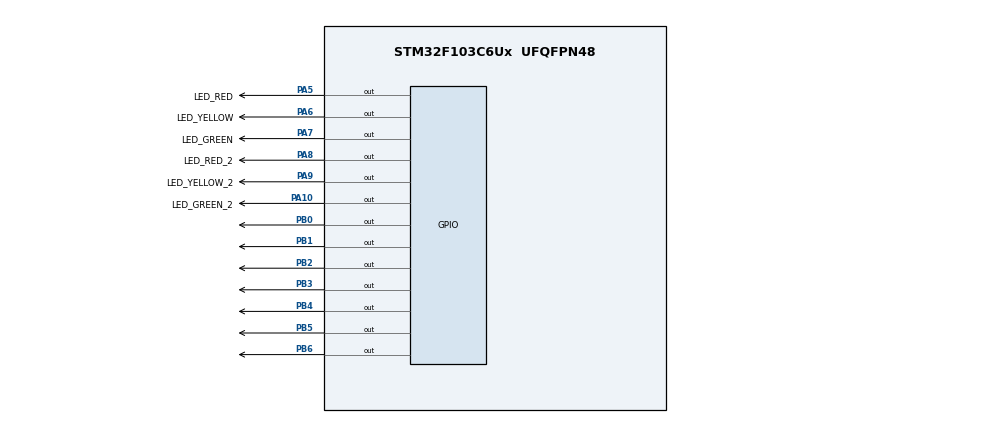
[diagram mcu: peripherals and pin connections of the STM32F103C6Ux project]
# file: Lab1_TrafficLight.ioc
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Mcu.Family=STM32F1
Mcu.Name=STM32F103C6Ux
Mcu.Package=UFQFPN48
NVIC.PriorityGroup=NVIC_PRIORITYGROUP_4
PA10.GPIO_Label=LED_GREEN_2
PA10.Signal=GPIO_Output
PA5.GPIO_Label=LED_RED
PA5.Signal=GPIO_Output
PA6.GPIO_Label=LED_YELLOW
PA6.Signal=GPIO_Output
PA7.GPIO_Label=LED_GREEN
PA7.Signal=GPIO_Output
PA8.GPIO_Label=LED_RED_2
PA8.Signal=GPIO_Output
PA9.GPIO_Label=LED_YELLOW_2
PA9.Signal=GPIO_Output
PB0.Signal=GPIO_Output
PB1.Signal=GPIO_Output
PB2.Signal=GPIO_Output
PB3.Signal=GPIO_Output
PB4.Signal=GPIO_Output
PB5.Signal=GPIO_Output
PB6.Signal=GPIO_Output
ProjectManager.HeapSize=0x200
ProjectManager.StackSize=0x400
ProjectManager.TargetToolchain=STM32CubeIDE
RCC.APB1Freq_Value=8000000
RCC.APB2Freq_Value=8000000
VP_SYS_VS_ND.Mode=No_Debug
board=custom

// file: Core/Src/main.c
/* USER CODE BEGIN Header */
/**
  ******************************************************************************
  * @file           : main.c
  * @brief          : Main program body
  ******************************************************************************
  * @attention
  *
  * <h2><center>&copy; Copyright (c) 2026 STMicroelectronics.
  * All rights reserved.</center></h2>
  *
  * This software component is licensed by ST under BSD 3-Clause license,
  * the "License"; You may not use this file except in compliance with the
  * License. You may obtain a copy of the License at:
  *                        opensource.org/licenses/BSD-3-Clause
  *
  ******************************************************************************
  */
/* USER CODE END Header */
#include "main.h"

void SystemClock_Config(void);
static void MX_GPIO_Init(void);

/* USER CODE BEGIN 0 */
void display7SEG(int num) {
    // Tắt toàn bộ các nét (Anode chung nên SET = Tắt)
    HAL_GPIO_WritePin(GPIOB, GPIO_PIN_0|GPIO_PIN_1|GPIO_PIN_2|GPIO_PIN_3|GPIO_PIN_4|GPIO_PIN_5|GPIO_PIN_6, GPIO_PIN_SET);

    switch (num) {
        case 0:
            // Sáng a, b, c, d, e, f (Tắt g - PB6)
            HAL_GPIO_WritePin(GPIOB, GPIO_PIN_0|GPIO_PIN_1|GPIO_PIN_2|GPIO_PIN_3|GPIO_PIN_4|GPIO_PIN_5, GPIO_PIN_RESET);
            break;
        case 1:
            // Sáng b, c (PB1, PB2)
            HAL_GPIO_WritePin(GPIOB, GPIO_PIN_1|GPIO_PIN_2, GPIO_PIN_RESET);
            break;
        case 2:
            // Sáng a, b, d, e, g (PB0, PB1, PB3, PB4, PB6)
            HAL_GPIO_WritePin(GPIOB, GPIO_PIN_0|GPIO_PIN_1|GPIO_PIN_3|GPIO_PIN_4|GPIO_PIN_6, GPIO_PIN_RESET);
            break;
        case 3:
            // Sáng a, b, c, d, g (PB0, PB1, PB2, PB3, PB6)
            HAL_GPIO_WritePin(GPIOB, GPIO_PIN_0|GPIO_PIN_1|GPIO_PIN_2|GPIO_PIN_3|GPIO_PIN_6, GPIO_PIN_RESET);
            break;
        case 4:
            // Sáng b, c, f, g (PB1, PB2, PB5, PB6)
            HAL_GPIO_WritePin(GPIOB, GPIO_PIN_1|GPIO_PIN_2|GPIO_PIN_5|GPIO_PIN_6, GPIO_PIN_RESET);
            break;
        case 5:
            // Sáng a, c, d, f, g (PB0, PB2, PB3, PB5, PB6)
            HAL_GPIO_WritePin(GPIOB, GPIO_PIN_0|GPIO_PIN_2|GPIO_PIN_3|GPIO_PIN_5|GPIO_PIN_6, GPIO_PIN_RESET);
            break;
        case 6:
            // Sáng a, c, d, e, f, g (PB0, PB2, PB3, PB4, PB5, PB6)
            HAL_GPIO_WritePin(GPIOB, GPIO_PIN_0|GPIO_PIN_2|GPIO_PIN_3|GPIO_PIN_4|GPIO_PIN_5|GPIO_PIN_6, GPIO_PIN_RESET);
            break;
        case 7:
            // Sáng a, b, c (PB0, PB1, PB2)
            HAL_GPIO_WritePin(GPIOB, GPIO_PIN_0|GPIO_PIN_1|GPIO_PIN_2, GPIO_PIN_RESET);
            break;
        case 8:
            // Sáng tất cả các nét từ a đến g
            HAL_GPIO_WritePin(GPIOB, GPIO_PIN_0|GPIO_PIN_1|GPIO_PIN_2|GPIO_PIN_3|GPIO_PIN_4|GPIO_PIN_5|GPIO_PIN_6, GPIO_PIN_RESET);
            break;
        case 9:
            // Sáng a, b, c, d, f, g (PB0, PB1, PB2, PB3, PB5, PB6)
            HAL_GPIO_WritePin(GPIOB, GPIO_PIN_0|GPIO_PIN_1|GPIO_PIN_2|GPIO_PIN_3|GPIO_PIN_5|GPIO_PIN_6, GPIO_PIN_RESET);
            break;
        default:
            break;
    }
}
/* USER CODE END 0 */

int main(void)
{

  /* MCU Configuration--------------------------------------------------------*/

  /* Reset of all peripherals, Initializes the Flash interface and the Systick. */
  HAL_Init();

  /* Configure the system clock */
  SystemClock_Config();

  /* Initialize all configured peripherals */
  MX_GPIO_Init();

  /* Infinite loop */
  /* USER CODE BEGIN WHILE */
  // int counter = 0;
  while (1)
  {
    /* USER CODE END WHILE */
	  // --- EXERCISE 1 ---
	  //	      HAL_GPIO_WritePin(LED_RED_GPIO_Port, LED_RED_Pin, GPIO_PIN_SET);
	  //	      HAL_GPIO_WritePin(LED_YELLOW_GPIO_Port, LED_YELLOW_Pin, GPIO_PIN_RESET);
	  //	      HAL_Delay(2000);
	  //
	  //	      HAL_GPIO_WritePin(LED_RED_GPIO_Port, LED_RED_Pin, GPIO_PIN_RESET);
	  //	      HAL_GPIO_WritePin(LED_YELLOW_GPIO_Port, LED_YELLOW_Pin, GPIO_PIN_SET);
	  //	      HAL_Delay(2000);

	  // --- EXERCISE 2 ---
	  //	  // 1. TRẠNG THÁI ĐÈN ĐỎ SÁNG (5 giây)
	  //	  HAL_GPIO_WritePin(LED_RED_GPIO_Port, LED_RED_Pin, GPIO_PIN_RESET);       // Bật Đỏ
	  //	  HAL_GPIO_WritePin(LED_YELLOW_GPIO_Port, LED_YELLOW_Pin, GPIO_PIN_SET);   // Tắt Vàng
	  //	  HAL_GPIO_WritePin(LED_GREEN_GPIO_Port, LED_GREEN_Pin, GPIO_PIN_SET);     // Tắt Xanh
	  //	  HAL_Delay(5000);
	  //
	  //	  // 2. TRẠNG THÁI ĐÈN XANH SÁNG (3 giây)
	  //	  HAL_GPIO_WritePin(LED_RED_GPIO_Port, LED_RED_Pin, GPIO_PIN_SET);         // Tắt Đỏ
	  //	  HAL_GPIO_WritePin(LED_YELLOW_GPIO_Port, LED_YELLOW_Pin, GPIO_PIN_SET);   // Tắt Vàng
	  //	  HAL_GPIO_WritePin(LED_GREEN_GPIO_Port, LED_GREEN_Pin, GPIO_PIN_RESET);   // Bật Xanh
	  //	  HAL_Delay(3000);
	  //
	  //	  // 3. TRẠNG THÁI ĐÈN VÀNG SÁNG (2 giây)
	  //	  HAL_GPIO_WritePin(LED_RED_GPIO_Port, LED_RED_Pin, GPIO_PIN_SET);         // Tắt Đỏ
	  //	  HAL_GPIO_WritePin(LED_YELLOW_GPIO_Port, LED_YELLOW_Pin, GPIO_PIN_RESET); // Bật Vàng
	  //	  HAL_GPIO_WritePin(LED_GREEN_GPIO_Port, LED_GREEN_Pin, GPIO_PIN_SET);     // Tắt Xanh
	  //	  HAL_Delay(2000);

	  // --- EXERCISE 3 ---
//	  	  // TRẠNG THÁI 1 (3 giây): Dọc XANH - Ngang ĐỎ
//	  	  HAL_GPIO_WritePin(GPIOA, GPIO_PIN_5, GPIO_PIN_SET);    // Tắt Đỏ 1
//	  	  HAL_GPIO_WritePin(GPIOA, GPIO_PIN_6, GPIO_PIN_SET);    // Tắt Vàng 1
//	  	  HAL_GPIO_WritePin(GPIOA, GPIO_PIN_7, GPIO_PIN_RESET);  // Bật Xanh 1
//
//	  	  HAL_GPIO_WritePin(GPIOA, GPIO_PIN_8, GPIO_PIN_RESET);  // Bật Đỏ 2
//	  	  HAL_GPIO_WritePin(GPIOA, GPIO_PIN_9, GPIO_PIN_SET);    // Tắt Vàng 2
//	  	  HAL_GPIO_WritePin(GPIOA, GPIO_PIN_10, GPIO_PIN_SET);   // Tắt Xanh 2
//	  	  HAL_Delay(3000);
//
//	  	  // TRẠNG THÁI 2 (2 giây): Dọc VÀNG - Ngang ĐỎ
//	  	  HAL_GPIO_WritePin(GPIOA, GPIO_PIN_5, GPIO_PIN_SET);
//	  	  HAL_GPIO_WritePin(GPIOA, GPIO_PIN_6, GPIO_PIN_RESET);  // Bật Vàng 1
//	  	  HAL_GPIO_WritePin(GPIOA, GPIO_PIN_7, GPIO_PIN_SET);
//
//	  	  HAL_GPIO_WritePin(GPIOA, GPIO_PIN_8, GPIO_PIN_RESET);  // Vẫn bật Đỏ 2
//	  	  HAL_GPIO_WritePin(GPIOA, GPIO_PIN_9, GPIO_PIN_SET);
//	  	  HAL_GPIO_WritePin(GPIOA, GPIO_PIN_10, GPIO_PIN_SET);
//	  	  HAL_Delay(2000);
//
//	  	  // TRẠNG THÁI 3 (3 giây): Dọc ĐỎ - Ngang XANH
//	  	  HAL_GPIO_WritePin(GPIOA, GPIO_PIN_5, GPIO_PIN_RESET);  // Bật Đỏ 1
//	  	  HAL_GPIO_WritePin(GPIOA, GPIO_PIN_6, GPIO_PIN_SET);
//	  	  HAL_GPIO_WritePin(GPIOA, GPIO_PIN_7, GPIO_PIN_SET);
//
//	  	  HAL_GPIO_WritePin(GPIOA, GPIO_PIN_8, GPIO_PIN_SET);
//	  	  HAL_GPIO_WritePin(GPIOA, GPIO_PIN_9, GPIO_PIN_SET);
//	  	  HAL_GPIO_WritePin(GPIOA, GPIO_PIN_10, GPIO_PIN_RESET); // Bật Xanh 2
//	  	  HAL_Delay(3000);
//
//	  	  // TRẠNG THÁI 4 (2 giây): Dọc ĐỎ - Ngang VÀNG
//	  	  HAL_GPIO_WritePin(GPIOA, GPIO_PIN_5, GPIO_PIN_RESET);  // Vẫn bật Đỏ 1
//	  	  HAL_GPIO_WritePin(GPIOA, GPIO_PIN_6, GPIO_PIN_SET);
//	  	  HAL_GPIO_WritePin(GPIOA, GPIO_PIN_7, GPIO_PIN_SET);
//
//	  	  HAL_GPIO_WritePin(GPIOA, GPIO_PIN_8, GPIO_PIN_SET);
//	  	  HAL_GPIO_WritePin(GPIOA, GPIO_PIN_9, GPIO_PIN_RESET);  // Bật Vàng 2
//	  	  HAL_GPIO_WritePin(GPIOA, GPIO_PIN_10, GPIO_PIN_SET);
//	  	  HAL_Delay(2000);

	  // --- EXERCISE 4 ---
//	      if(counter >= 10) counter = 0;
//	      display7SEG(counter++);
//	      HAL_Delay(1000);

	  // --- EXERCISE 5 ---
	  // --- TRẠNG THÁI 1: Dọc XANH (3s) - Ngang ĐỎ (3s) ---
	        HAL_GPIO_WritePin(GPIOA, GPIO_PIN_5, GPIO_PIN_SET);    // Tắt Đỏ 1
	        HAL_GPIO_WritePin(GPIOA, GPIO_PIN_6, GPIO_PIN_SET);    // Tắt Vàng 1
	        HAL_GPIO_WritePin(GPIOA, GPIO_PIN_7, GPIO_PIN_RESET);  // Bật Xanh 1

	        HAL_GPIO_WritePin(GPIOA, GPIO_PIN_8, GPIO_PIN_RESET);  // Bật Đỏ 2
	        HAL_GPIO_WritePin(GPIOA, GPIO_PIN_9, GPIO_PIN_SET);    // Tắt Vàng 2
	        HAL_GPIO_WritePin(GPIOA, GPIO_PIN_10, GPIO_PIN_SET);   // Tắt Xanh 2

	        // Đếm ngược 3 giây cho trạng thái này
	        display7SEG(3); HAL_Delay(1000);
	        display7SEG(2); HAL_Delay(1000);
	        display7SEG(1); HAL_Delay(1000);

	        // --- TRẠNG THÁI 2: Dọc VÀNG (2s) - Ngang ĐỎ (2s) ---
	        HAL_GPIO_WritePin(GPIOA, GPIO_PIN_5, GPIO_PIN_SET);
	        HAL_GPIO_WritePin(GPIOA, GPIO_PIN_6, GPIO_PIN_RESET);  // Bật Vàng 1
	        HAL_GPIO_WritePin(GPIOA, GPIO_PIN_7, GPIO_PIN_SET);

	        HAL_GPIO_WritePin(GPIOA, GPIO_PIN_8, GPIO_PIN_RESET);  // Vẫn bật Đỏ 2
	        HAL_GPIO_WritePin(GPIOA, GPIO_PIN_9, GPIO_PIN_SET);
	        HAL_GPIO_WritePin(GPIOA, GPIO_PIN_10, GPIO_PIN_SET);

	        // Đếm ngược 2 giây cho trạng thái này
	        display7SEG(2); HAL_Delay(1000);
	        display7SEG(1); HAL_Delay(1000);

	        // --- TRẠNG THÁI 3: Dọc ĐỎ (3s) - Ngang XANH (3s) ---
	        HAL_GPIO_WritePin(GPIOA, GPIO_PIN_5, GPIO_PIN_RESET);  // Bật Đỏ 1
	        HAL_GPIO_WritePin(GPIOA, GPIO_PIN_6, GPIO_PIN_SET);
	        HAL_GPIO_WritePin(GPIOA, GPIO_PIN_7, GPIO_PIN_SET);

	        HAL_GPIO_WritePin(GPIOA, GPIO_PIN_8, GPIO_PIN_SET);
	        HAL_GPIO_WritePin(GPIOA, GPIO_PIN_9, GPIO_PIN_SET);
	        HAL_GPIO_WritePin(GPIOA, GPIO_PIN_10, GPIO_PIN_RESET); // Bật Xanh 2

	        // Đếm ngược 3 giây cho trạng thái này
	        display7SEG(3); HAL_Delay(1000);
	        display7SEG(2); HAL_Delay(1000);
	        display7SEG(1); HAL_Delay(1000);

	        // --- TRẠNG THÁI 4: Dọc ĐỎ (2s) - Ngang VÀNG (2s) ---
	        HAL_GPIO_WritePin(GPIOA, GPIO_PIN_5, GPIO_PIN_RESET);  // Vẫn bật Đỏ 1
	        HAL_GPIO_WritePin(GPIOA, GPIO_PIN_6, GPIO_PIN_SET);
	        HAL_GPIO_WritePin(GPIOA, GPIO_PIN_7, GPIO_PIN_SET);

	        HAL_GPIO_WritePin(GPIOA, GPIO_PIN_8, GPIO_PIN_SET);
	        HAL_GPIO_WritePin(GPIOA, GPIO_PIN_9, GPIO_PIN_RESET);  // Bật Vàng 2
	        HAL_GPIO_WritePin(GPIOA, GPIO_PIN_10, GPIO_PIN_SET);

	        // Đếm ngược 2 giây cho trạng thái này
	        display7SEG(2); HAL_Delay(1000);
	        display7SEG(1); HAL_Delay(1000);
  }
}

void SystemClock_Config(void)
{
  RCC_OscInitTypeDef RCC_OscInitStruct = {0};
  RCC_ClkInitTypeDef RCC_ClkInitStruct = {0};

  /** Initializes the RCC Oscillators according to the specified parameters
  * in the RCC_OscInitTypeDef structure.
  */
  RCC_OscInitStruct.OscillatorType = RCC_OSCILLATORTYPE_HSI;
  RCC_OscInitStruct.HSIState = RCC_HSI_ON;
  RCC_OscInitStruct.HSICalibrationValue = RCC_HSICALIBRATION_DEFAULT;
  RCC_OscInitStruct.PLL.PLLState = RCC_PLL_NONE;
  if (HAL_RCC_OscConfig(&RCC_OscInitStruct) != HAL_OK)
  {
    Error_Handler();
  }
  /** Initializes the CPU, AHB and APB buses clocks
  */
  RCC_ClkInitStruct.ClockType = RCC_CLOCKTYPE_HCLK|RCC_CLOCKTYPE_SYSCLK
                              |RCC_CLOCKTYPE_PCLK1|RCC_CLOCKTYPE_PCLK2;
  RCC_ClkInitStruct.SYSCLKSource = RCC_SYSCLKSOURCE_HSI;
  RCC_ClkInitStruct.AHBCLKDivider = RCC_SYSCLK_DIV1;
  RCC_ClkInitStruct.APB1CLKDivider = RCC_HCLK_DIV1;
  RCC_ClkInitStruct.APB2CLKDivider = RCC_HCLK_DIV1;

  if (HAL_RCC_ClockConfig(&RCC_ClkInitStruct, FLASH_LATENCY_0) != HAL_OK)
  {
    Error_Handler();
  }
}

static void MX_GPIO_Init(void)
{
  GPIO_InitTypeDef GPIO_InitStruct = {0};

  /* GPIO Ports Clock Enable */
  __HAL_RCC_GPIOA_CLK_ENABLE();
  __HAL_RCC_GPIOB_CLK_ENABLE();

  /*Configure GPIO pin Output Level */
  HAL_GPIO_WritePin(GPIOA, LED_RED_Pin|LED_YELLOW_Pin|LED_GREEN_Pin|LED_RED_2_Pin
                          |LED_YELLOW_2_Pin|LED_GREEN_2_Pin, GPIO_PIN_RESET);

  /*Configure GPIO pin Output Level */
  HAL_GPIO_WritePin(GPIOB, GPIO_PIN_0|GPIO_PIN_1|GPIO_PIN_2|GPIO_PIN_3
                          |GPIO_PIN_4|GPIO_PIN_5|GPIO_PIN_6, GPIO_PIN_RESET);

  /*Configure GPIO pins : LED_RED_Pin LED_YELLOW_Pin LED_GREEN_Pin LED_RED_2_Pin
                           LED_YELLOW_2_Pin LED_GREEN_2_Pin */
  GPIO_InitStruct.Pin = LED_RED_Pin|LED_YELLOW_Pin|LED_GREEN_Pin|LED_RED_2_Pin
                          |LED_YELLOW_2_Pin|LED_GREEN_2_Pin;
  GPIO_InitStruct.Mode = GPIO_MODE_OUTPUT_PP;
  GPIO_InitStruct.Pull = GPIO_NOPULL;
  GPIO_InitStruct.Speed = GPIO_SPEED_FREQ_LOW;
  HAL_GPIO_Init(GPIOA, &GPIO_InitStruct);

  /*Configure GPIO pins : PB0 PB1 PB2 PB3
                           PB4 PB5 PB6 */
  GPIO_InitStruct.Pin = GPIO_PIN_0|GPIO_PIN_1|GPIO_PIN_2|GPIO_PIN_3
                          |GPIO_PIN_4|GPIO_PIN_5|GPIO_PIN_6;
  GPIO_InitStruct.Mode = GPIO_MODE_OUTPUT_PP;
  GPIO_InitStruct.Pull = GPIO_NOPULL;
  GPIO_InitStruct.Speed = GPIO_SPEED_FREQ_LOW;
  HAL_GPIO_Init(GPIOB, &GPIO_InitStruct);

}

void Error_Handler(void)
{
  __disable_irq();
  while (1)
  {
  }
}

/************************ (C) COPYRIGHT STMicroelectronics *****END OF FILE****/
